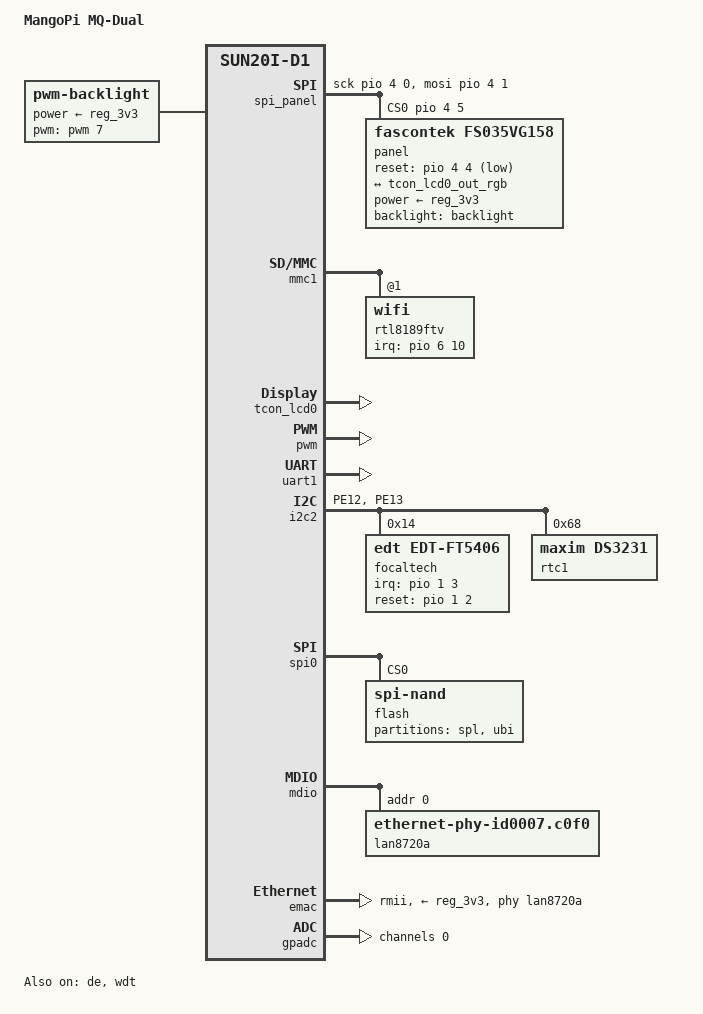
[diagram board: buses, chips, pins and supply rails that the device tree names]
// SPDX-License-Identifier: (GPL-2.0+ or MIT)
// Copyright (C) 2022 Samuel Holland <samuel@sholland.org>

/dts-v1/;

#include <dt-bindings/gpio/gpio.h>
#include "allwinner/sun8i-t113s.dtsi"
#include "allwinner/sunxi-d1s-t113-mangopi-mq-r.dtsi"

/ {
	model = "MangoPi MQ-Dual";
	compatible = "allwinner,sun20i-d1", "allwinner,sun8i";

	aliases {
		ethernet0 = &rtl8189ftv;
	};

	/delete-node/ leds;

	spi_panel: spi {
		compatible = "spi-gpio";
		#address-cells = <0x1>;
		#size-cells = <0x0>;

		sck-gpios = <&pio 4 0 GPIO_ACTIVE_HIGH>; /* PE0 */
		mosi-gpios = <&pio 4 1 GPIO_ACTIVE_HIGH>; /* PE1 */
		cs-gpios = <&pio 4 5 GPIO_ACTIVE_HIGH>; /* PE5 */
		num-chipselects = <0>;
	};

	backlight: backlight {
		compatible = "pwm-backlight";
		pwms = <&pwm 7 5000000>;
		power-supply = <&reg_3v3>;
		pinctrl-0 = <&pwm7_pd22_pin>;
		pinctrl-names = "default";
		brightness-levels = <0 4 8 16 32 64 128 254>;
		default-brightness-level = <6>;
		post-pwm-on-delay-ms = <10>;
		pwm-off-delay-ms = <10>;
	};
};

&cpu0 {
        cpu-supply = <&reg_vcc_core>;
};

&cpu1 {
        cpu-supply = <&reg_vcc_core>;
};

&mmc1 {
        rtl8189ftv: wifi@1 {
                reg = <1>;
                interrupt-parent = <&pio>;
                interrupts = <6 10 IRQ_TYPE_LEVEL_LOW>; /* PG10 = WL_WAKE_AP */
                interrupt-names = "host-wake";
        };
};

&de {
 	status = "okay";
};

&tcon_lcd0 {
	pinctrl-0 = <&lcd_rgb666_pins>;
	pinctrl-names = "default";
	status = "okay";
};

&tcon_lcd0_out {
        tcon_lcd0_out_rgb: endpoint@0 {
                reg = <0>;
                remote-endpoint = <&rgb_panel_in>;
        };
};

&spi_panel {
	status = "okay";
	panel@0 {
		compatible = "fascontek,fs035vg158";
		spi-3wire;
		reg = <0>;
		backlight = <&backlight>;
		power-supply = <&reg_3v3>;
		reset-gpios = <&pio 4 4 GPIO_ACTIVE_LOW>; /* PE4 */
		port {
			rgb_panel_in: endpoint {
				remote-endpoint = <&tcon_lcd0_out_rgb>;
			};
		};
	};
};

&pwm {
	#pwm-cells = <2>;
	status = "okay";
};

&pio {
	pinctrl-0 = <&i2c2_pe12_pins>;
	i2c2_pe12_pins: i2c2-pe12-pins {
		pins = "PE12", "PE13";
		function = "i2c2";
	};

	pwm7_pd22_pin: pwm7-pd22-pin {
		pins = "PD22";
		function = "pwm7";
	};
};

&uart1 {
	pinctrl-0 = <&uart1_pg6_pins>;
	pinctrl-names = "default";
	status = "okay";
};

&i2c2 {
	pinctrl-0 = <&i2c2_pe12_pins>;
	pinctrl-names = "default";
	status = "okay";

	focaltech: touchscreen@14 {
		compatible = "edt,edt-ft5406";
		reg = <0x14>;
		interrupt-parent = <&pio>;
		interrupts = <1 3 IRQ_TYPE_EDGE_FALLING>;  /* PB-EINT3    */
		irq-gpios = <&pio 1 3 GPIO_ACTIVE_HIGH>;   /* PB3 CTP_INT */
		reset-gpios = <&pio 1 2 GPIO_ACTIVE_HIGH>; /* PB2 CTP_RST */ // low active?
	};

	rtc1: rtc1@68 {
		compatible = "maxim,ds3231";
		reg = <0x68>;
	};
};

&spi0 {
	pinctrl-0 = <&spi0_pins>;
	pinctrl-names = "default";
	status = "okay";

	flash@0 {
		compatible = "spi-nand";
		reg = <0>;

		partitions {
			compatible = "fixed-partitions";
			#address-cells = <1>;
			#size-cells = <1>;

			partition@0 {
				label = "spl";
				reg = <0x00000000 0x00080000>;
			};

			partition@100000 {
				label = "ubi";
				reg = <0x00080000 0x0fb00000>;
			};
		};

	};
};

&mdio {
	status = "okay";
	lan8720a: ethernet-phy@0 {
		compatible = "ethernet-phy-id0007.c0f0", "ethernet-phy-ieee802.3-c22";
		reg = <0>;
	};
};

&emac {
	pinctrl-0 = <&rmii_pe_pins>;
	pinctrl-names = "default";
	phy-handle = <&lan8720a>;
	phy-mode = "rmii";
	phy-supply = <&reg_3v3>;
	status = "okay";
};

&gpadc {
	status = "okay";
	channel@0 {
		reg = <0>;
	};
};

&uart3 {
	status = "disabled";
	/delete-node/ pinctrl-0;
	/delete-node/ pinctrl-names;
};

&wdt {
	status = "okay";
};
